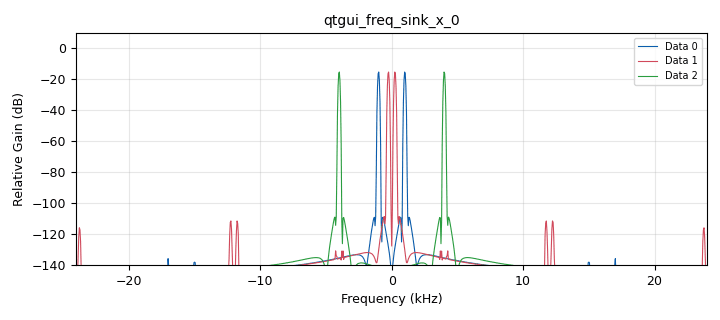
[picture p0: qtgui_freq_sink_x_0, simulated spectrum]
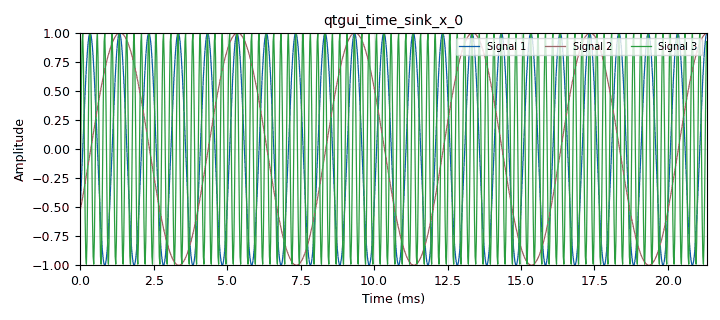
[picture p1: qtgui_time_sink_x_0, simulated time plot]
options:
  parameters:
    generate_options: qt_gui
    id: ece531_lab1g
    output_language: python
    title: ece531_lab1g
  states: {}

blocks:
- name: samp_rate
  id: variable
  parameters:
    value: '48000'
  states: {}
- name: analog_sig_source_x_0
  id: analog_sig_source_x
  parameters:
    amp: '1'
    freq: '1000'
    offset: '0'
    phase: '0'
    samp_rate: samp_rate
    showports: 'True'
    type: float
    waveform: analog.GR_COS_WAVE
  states: {}
- name: analog_sig_source_x_0_0
  id: analog_sig_source_x
  parameters:
    amp: '1'
    freq: '1000'
    offset: '0'
    phase: '0'
    samp_rate: samp_rate
    showports: 'True'
    type: float
    waveform: analog.GR_COS_WAVE
  states: {}
- name: analog_sig_source_x_0_0_0
  id: analog_sig_source_x
  parameters:
    amp: '1'
    freq: '1000'
    offset: '0'
    phase: '0'
    samp_rate: samp_rate
    showports: 'True'
    type: float
    waveform: analog.GR_COS_WAVE
  states: {}
- name: blocks_throttle2_0
  id: blocks_throttle2
  parameters:
    samples_per_second: samp_rate
    type: float
  states: {}
- name: qtgui_freq_sink_x_0
  id: qtgui_freq_sink_x
  parameters:
    bw: samp_rate
    fc: '0'
    fftsize: '1024'
    nconnections: '3'
    type: float
  states: {}
- name: qtgui_time_sink_x_0
  id: qtgui_time_sink_x
  parameters:
    nconnections: '3'
    size: '1024'
    srate: samp_rate
    type: float
  states: {}
- name: rational_resampler_xxx_0
  id: rational_resampler_xxx
  parameters:
    decim: '1'
    interp: '1'
    type: fff
  states: {}
- name: rational_resampler_xxx_0_0
  id: rational_resampler_xxx
  parameters:
    decim: '1'
    interp: '4'
    type: fff
  states: {}
- name: rational_resampler_xxx_0_0_0
  id: rational_resampler_xxx
  parameters:
    decim: '4'
    interp: '1'
    type: fff
  states: {}

connections:
- [analog_sig_source_x_0, '0', rational_resampler_xxx_0, '0']
- [analog_sig_source_x_0_0, '0', rational_resampler_xxx_0_0_0, '0']
- [analog_sig_source_x_0_0_0, '0', rational_resampler_xxx_0_0, '0']
- [blocks_throttle2_0, '0', qtgui_freq_sink_x_0, '0']
- [blocks_throttle2_0, '0', qtgui_time_sink_x_0, '0']
- [rational_resampler_xxx_0, '0', blocks_throttle2_0, '0']
- [rational_resampler_xxx_0_0, '0', qtgui_freq_sink_x_0, '1']
- [rational_resampler_xxx_0_0, '0', qtgui_time_sink_x_0, '1']
- [rational_resampler_xxx_0_0_0, '0', qtgui_freq_sink_x_0, '2']
- [rational_resampler_xxx_0_0_0, '0', qtgui_time_sink_x_0, '2']

metadata:
  file_format: 1
  grc_version: 3.10.9.2
